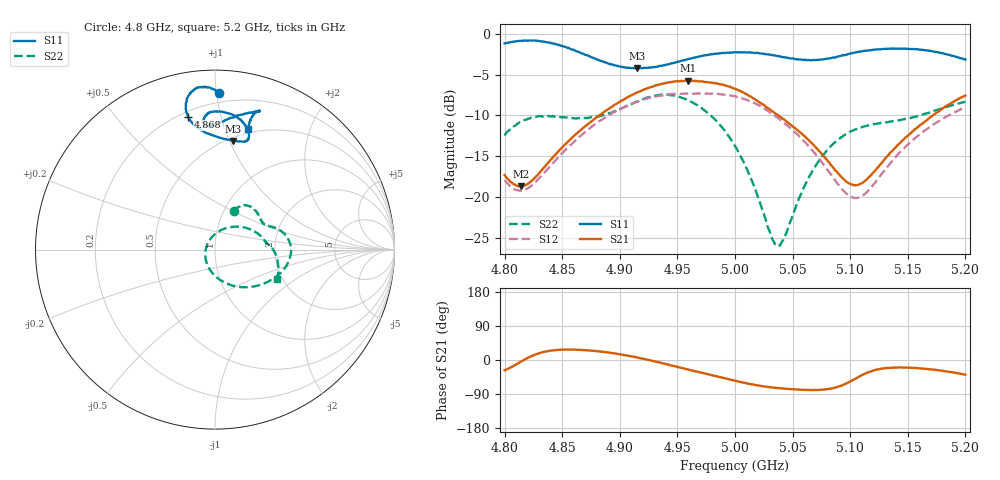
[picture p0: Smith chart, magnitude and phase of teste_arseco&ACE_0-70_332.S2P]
! Network Analyzer HP8722D
! Hewlett-Packard
! Data name: Linha & Wilkinson
! Saver's name: Rodrigo Anjos
! Comments: Teste da utilização de aquisição
! continua pelo VNA HP8722D
! Time and date: 8/5/2025 15:31
!  Frequency  S11  S21  S12  S22
# HZ  S  MA R 50
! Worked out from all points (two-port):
!   401 points, 4.8 GHz to 5.2 GHz, reference 50 ohm
!   highest |S21| = -5.74 dB at 4.959 GHz (marker M1); lowest = -18.7 dB at 4.814 GHz (marker M2)
!   |S21| within 3 dB of the highest: 4.895 GHz to 5.025 GHz (130.3 MHz wide, 2.63 % of centre); 5.184615 GHz to end of sweep
!   lowest |S11| = -4.2 dB at 4.915 GHz (marker M3), VSWR 4.18, Z = 26.5 + j51.6 ohm
!   |S11| at or under -10 dB: nowhere
!   |S22| runs from -26.0 to -7.4 dB; largest |S21 - S12| = 0.89
!   S11 on the Smith chart (normalised r, x): 4.8 GHz: 0.14, +1.02; 4.868 GHz: 0.23, +0.79; 5.2 GHz: 0.46, +1.20
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4.8e9  0.8735 88.5  0.1366 -26.8  0.1272 100.6  0.2386 64.4
4.814e9  0.9038 92.5  0.1163 -4.6  0.1097 120.1  0.2895 58.2
4.845e9  0.8596 100.2  0.1852 26.4  0.1705 150.2  0.3097 39.6
4.867e9  0.7596 101.5  0.2608 26.2  0.2406 153.5  0.3048 30.4
4.868e9  0.7543 101.4  0.2647 26.1  0.2441 153.4  0.3038 30.1
4.894e9  0.6461 93.1  0.361 18.1  0.3295 148.2  0.3329 22.9
4.915e9  0.614 80.5  0.4366 6.6  0.3829 139.8  0.3848 15.2
4.934e9  0.6345 73.8  0.4878 -6.2  0.4181 129.4  0.4221 3.0
4.959e9  0.6997 75.3  0.5165 -24.9  0.4308 113.8  0.393 -18.3
4.981e9  0.7502 81.1  0.4991 -41.0  0.4294 99.5  0.3064 -41.4
5e9  0.7696 87.4  0.4611 -54.8  0.4155 86.4  0.2054 -69.0
5.019e9  0.7647 92.3  0.3907 -66.9  0.37 73.2  0.1046 -110.1
5.031e9  0.7434 94.3  0.3409 -72.2  0.3287 66.6  0.05875 -156.8
5.037e9  0.7316 94.9  0.3188 -73.9  0.3063 64.0  0.05021 164.9
5.043e9  0.7169 95.0  0.297 -75.7  0.2838 61.8  0.05706 128.0
5.067e9  0.6913 92.9  0.2133 -79.3  0.1943 57.9  0.1439 58.8
5.084e9  0.7119 87.2  0.1555 -75.0  0.1352 63.9  0.2077 36.1
5.103e9  0.7637 79.4  0.1186 -51.7  0.09939 90.4  0.2575 19.6
5.113e9  0.7857 75.8  0.1259 -35.8  0.1052 108.4  0.2723 14.1
5.134e9  0.8101 72.3  0.1838 -20.6  0.1585 125.9  0.2895 7.4
5.17e9  0.7862 74.0  0.3099 -24.6  0.272 120.6  0.3325 -2.4
5.2e9  0.6957 74.7  0.4186 -38.8  0.3561 108.9  0.3835 -25.6
